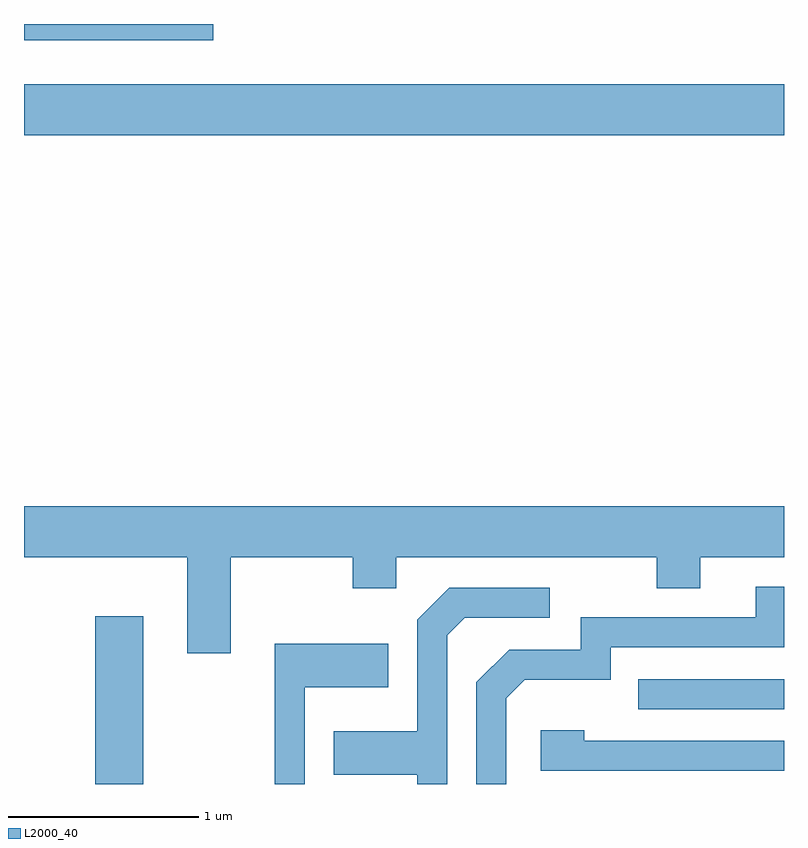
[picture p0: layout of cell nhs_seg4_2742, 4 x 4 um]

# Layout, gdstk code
import gdstk
lib = gdstk.Library(unit=1e-6, precision=1e-09)
def R(c, l, rs):  # rectangles x0, y0, x1, y1
    for r in rs: c.add(gdstk.rectangle(r[:2], r[2:], *l))
def P(c, l, *ps):  # polygons
    for p in ps: c.add(gdstk.Polygon(p, *l))
L2000_40 = (2000, 40)

nhs_seg4_2742 = lib.new_cell('nhs_seg4_2742')
R(nhs_seg4_2742, L2000_40, [(265.986,1297.982,266.239,1298.864), (268.843,1298.376,269.611,1298.534), (265.611,1301.396,269.611,1301.664), (265.611,1301.896,266.608,1301.982)])
P(nhs_seg4_2742, L2000_40, [(266.699,1299.176),(267.341,1299.176),(267.341,1299.011),(267.569,1299.011),(267.569,1299.176),(268.941,1299.176),(268.941,1299.011),(269.169,1299.011),(269.169,1299.176),(269.611,1299.176),(269.611,1299.444),(265.611,1299.444),(265.611,1299.176),(266.471,1299.176),(266.471,1298.671),(266.699,1298.671)],
  [(268.149,1298.434),(268.247,1298.531),(268.699,1298.531),(268.699,1298.701),(269.611,1298.701),(269.611,1299.019),(269.461,1299.019),(269.461,1298.859),(268.541,1298.859),(268.541,1298.689),(268.164,1298.689),(267.991,1298.517),(267.991,1297.982),(268.149,1297.982)],
  [(267.839,1298.764),(267.932,1298.856),(268.378,1298.856),(268.378,1299.014),(267.849,1299.014),(267.681,1298.847),(267.681,1298.259),(267.241,1298.259),(267.241,1298.031),(267.681,1298.031),(267.681,1297.982),(267.839,1297.982)],
  [(267.089,1298.491),(267.529,1298.491),(267.529,1298.719),(266.931,1298.719),(266.931,1297.982),(267.089,1297.982)],
  [(269.611,1298.209),(268.559,1298.209),(268.559,1298.264),(268.331,1298.264),(268.331,1298.051),(269.611,1298.051)])

lib.write_gds('nhs_seg4_2742.gds')
